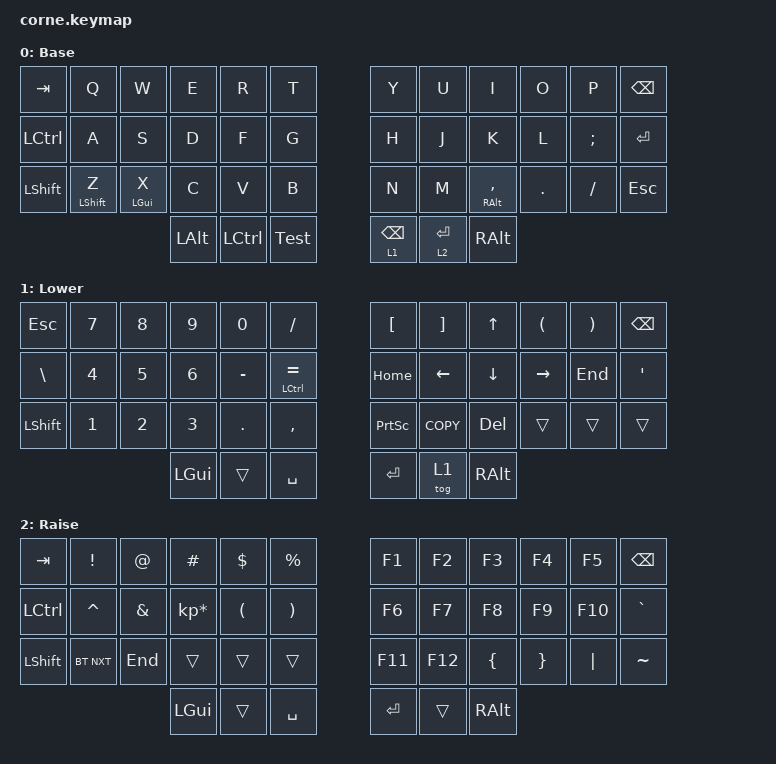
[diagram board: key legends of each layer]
/*
 * Copyright (c) 2020 The ZMK Contributors
 *
 * SPDX-License-Identifier: MIT
 */

#include <behaviors.dtsi>
#include <dt-bindings/zmk/bt.h>
#include <dt-bindings/zmk/keys.h>

&mt { tapping-term-ms = <180>; };

&lt { tapping-term-ms = <195>; };

/ {
    combos {
        compatible = "zmk,combos";

        delete_word {
            bindings = <&kp LC(BACKSPACE)>;
            key-positions = <16 17>;
        };

        minus {
            bindings = <&kp MINUS>;
            key-positions = <18 19>;
        };

        apo {
            bindings = <&kp SQT>;
            key-positions = <22 21>;
        };

        equal {
            bindings = <&kp EQUAL>;
            key-positions = <19 20>;
        };

        Left_par {
            bindings = <&kp LPAR>;
            key-positions = <7 8>;
        };

        R_par {
            bindings = <&kp RPAR>;
            key-positions = <8 9>;
        };

        esc {
            bindings = <&kp ESCAPE>;
            key-positions = <1 2 3>;
        };

        tab {
            bindings = <&kp TAB>;
            key-positions = <1 2>;
        };
    };

    behaviors {
        Test: Test {
            compatible = "zmk,behavior-tap-dance";
            label = "TEST";
            #binding-cells = <0>;
            bindings = <&kp SPACE>, <&mo 1>;

            tapping-term-ms = <200>;
        };
    };

    keymap {
        compatible = "zmk,keymap";

        default_layer {
            // -----------------------------------------------------------------------------------------
            // |  TAB |  Q  |  W  |  E  |  R  |  T  |   |  Y  |  U   |  I  |  O  |  P  | BKSP |
            // | CTRL |  A  |  S  |  D  |  F  |  G  |   |  H  |  J   |  K  |  L  |  ;  | ENT   |
            // | SHFT |  Z  |  X  |  C  |  V  |  B  |   |  N  |  M   |  ,  |  .  |  /  | ESC  |
            //                    | GUI | LWR | SPC |   | BKSP | RSE  | ALT |

            display-name = "Base";
            bindings = <
&kp TAB    &kp Q             &kp W       &kp E         &kp R      &kp T    &kp Y            &kp U        &kp I                &kp O    &kp P     &kp BSPC
&kp LCTRL  &kp A             &kp S       &kp D         &kp F      &kp G    &kp H            &kp J        &kp K                &kp L    &kp SEMI  &kp RET
&kp LSHFT  &mt LEFT_SHIFT Z  &mt LGUI X  &kp C         &kp V      &kp B    &kp N            &kp M        &mt RIGHT_ALT COMMA  &kp DOT  &kp FSLH  &kp ESC
                                         &kp LEFT_ALT  &kp LCTRL  &Test    &lt 1 BACKSPACE  &lt 2 ENTER  &kp RALT
            >;
        };

        lower_layer {
            // -----------------------------------------------------------------------------------------
            // |  ESC |  7  |  8  |  9  |  0  |  /  |   |  [  |  ]  |  (  |  )  |  0  | BKSP |
            // |   \  |  4  |  5  |  6  |  -  |  =  |   | LFT | DWN |  UP | RGT |     |  '   |
            // | SHFT |  1  |  2  |  3  |     |     |   |     |     |     |     |     |      |
            //                    | GUI |     | SPC |   | ENT |     | ALT |

            display-name = "Lower";
            bindings = <
&kp ESC    &kp N7  &kp N8  &kp N9    &kp N0     &kp FSLH                  &kp LBKT         &kp RBKT    &kp UP_ARROW  &kp LPAR   &kp RPAR  &kp BSPC
&kp BSLH   &kp N4  &kp N5  &kp N6    &kp MINUS  &mt LEFT_CONTROL EQUAL    &kp HOME         &kp LEFT    &kp DOWN      &kp RIGHT  &kp END   &kp SQT
&kp LSHFT  &kp N1  &kp N2  &kp N3    &kp DOT    &kp COMMA                 &kp PRINTSCREEN  &kp K_COPY  &kp DEL       &trans     &trans    &trans
                           &kp LGUI  &trans     &kp SPACE                 &kp RET          &tog 1      &kp RALT
            >;
        };

        raise_layer {
            // -----------------------------------------------------------------------------------------
            // |  TAB |  !  |  @  |  #  |  $  |  %  |   |  ^  |  &  |  *  |  (  |  )  | BKSP |
            // | CTRL |     |     |     |     |     |   |  -  |  =  |  [  |  ]  |  \  |  `   |
            // | SHFT |     |     |     |     |     |   |  _  |  +  |  {  |  }  | "|" |  ~   |
            //                    | GUI |     | SPC |   | ENT |     | ALT |

            display-name = "Raise";
            bindings = <
&kp TAB    &kp EXCL    &kp AT         &kp HASH         &kp DLLR              &kp PRCNT                &kp F1   &kp F2   &kp F3    &kp F4    &kp F5    &kp BSPC
&kp LCTRL  &kp CARET   &kp AMPERSAND  &kp KP_MULTIPLY  &kp LEFT_PARENTHESIS  &kp RIGHT_PARENTHESIS    &kp F6   &kp F7   &kp F8    &kp F9    &kp F10   &kp GRAVE
&kp LSHFT  &bt BT_NXT  &kp END        &trans           &trans                &trans                   &kp F11  &kp F12  &kp LBRC  &kp RBRC  &kp PIPE  &kp TILDE
                                      &kp LGUI         &trans                &kp SPACE                &kp RET  &trans   &kp RALT
            >;
        };
    };
};

